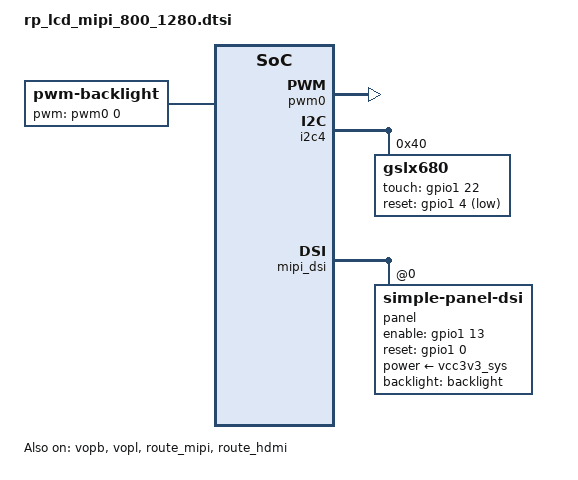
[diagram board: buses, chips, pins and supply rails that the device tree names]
/ {
	
	backlight: backlight {
		status = "okay";
		compatible = "pwm-backlight";
		pwms = <&pwm0 0 25000 0>;
		brightness-levels = <
//			  0   1   2   3   4   5   6   7
//			  8   9  10  11  12  13  14  15
//			 16  17  18  19  20  21  22  23
//			 24  25  26  27  28  29  30  31
//			 32  33  34  35  36  37  38  39
//			 40  41  42  43  44  45  46  47
//			 48  49  50  51  52  53  54  55
//			 56  57  58  59  60  61  62  63
//			 64  65  66  67  68  69  70  71
			 72  73  74  75  76  77  78  79
			 80  81  82  83  84  85  86  87
			 88  89  90  91  92  93  94  95
			 96  97  98  99 100 101 102 103
			104 105 106 107 108 109 110 111
			112 113 114 115 116 117 118 119
			120 121 122 123 124 125 126 127
			128 129 130 131 132 133 134 135
			136 137 138 139 140 141 142 143
			144 145 146 147 148 149 150 151
			152 153 154 155 156 157 158 159
			160 161 162 163 164 165 166 167
			168 169 170 171 172 173 174 175
			176 177 178 179 180 181 182 183
			184 185 186 187 188 189 190 191
			192 193 194 195 196 197 198 199
			200 201 202 203 204 205 206 207
			208 209 210 211 212 213 214 215
			216 217 218 219 220 221 222 223
			224 225 226 227 228 229 230 231
			232 233 234 235 236 237 238 239
			240 241 242 243 244 245 246 247
			248 249 250 251 252 253 254 255>;
		default-brightness-level = <255>;
	};

};


&pwm0 {
	status = "okay";
};

&i2c4 {
        status = "okay";
	gslx680@40 {
		compatible = "gslx680";
		reg = <0x40>;
		pinctrl-0 = <&gt1x_rst_gpio>;
		pinctrl-1 = <&gt1x_int_gpio>;
		touch-gpio = <&gpio1 22 IRQ_TYPE_EDGE_RISING>;
		reset-gpio = <&gpio1 4 GPIO_ACTIVE_LOW>;
	};
};

&mipi_dsi {
        status = "okay";
        //status = "disabled";
        panel {
                compatible ="simple-panel-dsi";
                reg = <0>;
		power-supply = <&vcc3v3_sys>;
                backlight = <&backlight>;
		dsi_to_lvds = <0>;
		system_rotate = <1>;
		lcd_density = <160>;
                enable = <&gpio1 13 GPIO_ACTIVE_HIGH>;
		delay,prepare = <10>;
		reset  = <&gpio1 0 GPIO_ACTIVE_HIGH>;
		reset-delay-ms = <200>;
                dsi,flags = <(MIPI_DSI_MODE_VIDEO | MIPI_DSI_MODE_VIDEO_BURST |
                                MIPI_DSI_MODE_VIDEO_SYNC_PULSE)>;
                dsi,format = <MIPI_DSI_FMT_RGB888>;
                dsi,lanes = <4>;



                panel-init-sequence = [
                        05 78 01 11
                        05 78 01 29
                ];

                panel-exit-sequence = [
                        05 00 01 28
                        05 78 01 10
                ];
	
                status = "okay";

                display-timings {
                        native-mode = <&timing0>;
                        timing0: timing0 {
                                clock-frequency = <70000000>;
                                hactive = <800>;
                                vactive = <1280>;
                                hback-porch = <40>;
                                hfront-porch = <40>;
                                vback-porch = <22>;
                                vfront-porch = <16>;
                                hsync-len = <4>;
                                vsync-len = <2>;
                                hsync-active = <0>;
                                vsync-active = <0>;
                                de-active = <0>;
                                pixelclk-active = <0>;
                        };
                        timing1: timing1 {
                                clock-frequency = <148000000>;
                                hactive = <1920>;
                                vactive = <1080>;
                                hback-porch = <100>;
                                hfront-porch = <160>;
                                vback-porch = <25>;
                                vfront-porch = <10>;
                                hsync-len = <20>;
                                vsync-len = <10>;
                                hsync-active = <0>;
                                vsync-active = <0>;
                                de-active = <0>;
                                pixelclk-active = <1>;
                        };


                };
        };
};

&vopb {
        assigned-clocks = <&cru DCLK_VOP0_DIV>;
        assigned-clock-parents = <&cru PLL_CPLL>;
        //assigned-clock-parents = <&cru PLL_VPLL>;
        status = "okay";
};

&vopb_mmu {
        status = "okay";
};

&vopl {
        assigned-clocks = <&cru DCLK_VOP1_DIV>;
        assigned-clock-parents = <&cru PLL_VPLL>;
        //assigned-clock-parents = <&cru PLL_CPLL>;
        status = "okay";
};

&vopl_mmu {
        status = "okay";
};

&mipi_in_vopl { 
        status = "disabled"; 
}; 
 
&hdmi_in_vopb { 
        status = "disabled"; 
}; 
 
&route_mipi { 
        status = "okay"; 
        //status = "disabled"; 
}; 
 
&route_hdmi { 
        status = "okay"; 
        //status = "disabled"; 
}; 

&pinctrl {
        gt1x_rst_g {
                gt1x_rst_gpio: gt1x-rst-gpio {
                        rockchip,pins = <1 4 RK_FUNC_GPIO &pcfg_pull_up>;
                };
                gt1x_int_gpio: gt1x-int-gpio {
                        //rockchip,pins = <1 18 RK_FUNC_GPIO &pcfg_pull_up>;
                        rockchip,pins = <1 22 RK_FUNC_GPIO &pcfg_pull_up>;
                };

        };

};
